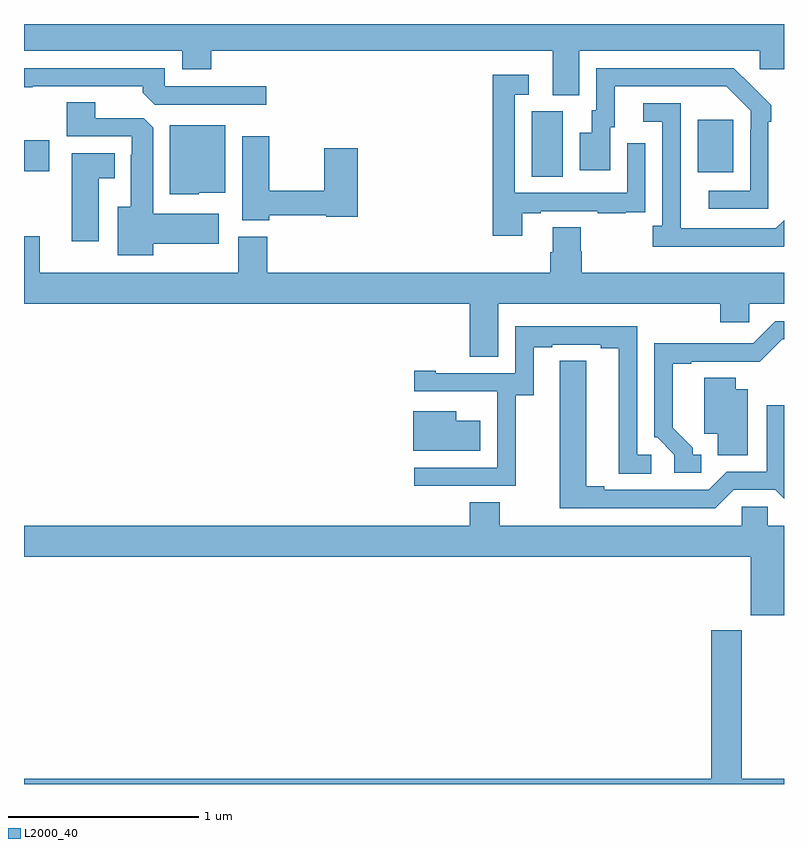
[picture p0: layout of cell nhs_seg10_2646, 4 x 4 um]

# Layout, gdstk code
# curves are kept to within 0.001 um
import gdstk
lib = gdstk.Library(unit=1e-6, precision=1e-09)
def R(c, l, rs):  # rectangles x0, y0, x1, y1
    for r in rs: c.add(gdstk.rectangle(r[:2], r[2:], *l))
def P(c, l, *ps):  # polygons
    for p in ps: c.add(gdstk.Polygon(p, *l))
L2000_40 = (2000, 40)

nhs_seg10_2646 = lib.new_cell('nhs_seg10_2646')
R(nhs_seg10_2646, L2000_40, [(257.672,1255.696,257.836,1256.04), (258.545,1255.721,258.733,1255.996), (255,1255.726,255.133,1255.888)])
P(nhs_seg10_2646, L2000_40, [(257.923,1256.36),(258.873,1256.36),(258.873,1256.262),(259,1256.262),(259,1256.5),(255,1256.5),(255,1256.36),(255.833,1256.36),(255.833,1256.261),(255.986,1256.261),(255.986,1256.36),(257.783,1256.36),(257.783,1256.125),(257.923,1256.125)],
  [(258.918,1255.985),(258.933,1255.985),(258.933,1256.073),(258.736,1256.268),(258.012,1256.268),(258.012,1256.046),(257.987,1256.046),(257.987,1255.927),(257.924,1255.927),(257.924,1255.731),(258.085,1255.731),(258.085,1255.956),(258.109,1255.956),(258.109,1256.172),(258.697,1256.172),(258.825,1256.043),(258.825,1255.943),(258.822,1255.943),(258.822,1255.623),(258.603,1255.623),(258.603,1255.527),(258.918,1255.527)],
  [(256.276,1256.172),(255.741,1256.172),(255.741,1256.268),(255,1256.268),(255,1256.167),(255.046,1256.167),(255.046,1256.172),(255.626,1256.172),(255.626,1256.138),(255.687,1256.076),(256.276,1256.076)],
  [(257.623,1255.503),(257.719,1255.503),(257.719,1255.515),(258.019,1255.515),(258.019,1255.503),(258.167,1255.503),(258.167,1255.509),(258.269,1255.509),(258.269,1255.618),(258.27,1255.618),(258.27,1255.873),(258.174,1255.873),(258.174,1255.611),(257.583,1255.611),(257.583,1256.127),(257.656,1256.127),(257.656,1256.233),(257.467,1256.233),(257.467,1255.386),(257.623,1255.386)],
  [(255.679,1255.343),(256.024,1255.343),(256.024,1255.501),(255.679,1255.501),(255.679,1255.955),(255.63,1256.004),(255.376,1256.004),(255.376,1256.087),(255.224,1256.087),(255.224,1255.908),(255.567,1255.908),(255.567,1255.811),(255.563,1255.811),(255.563,1255.537),(255.494,1255.537),(255.494,1255.283),(255.679,1255.283)],
  [(259,1255.33),(259,1255.468),(258.957,1255.425),(258.457,1255.425),(258.456,1256.082),(258.258,1256.082),(258.258,1255.986),(258.36,1255.986),(258.36,1255.438),(258.309,1255.438),(258.309,1255.328),(258.998,1255.328)],
  [(255.921,1255.613),(256.06,1255.613),(256.06,1255.966),(255.767,1255.966),(255.767,1255.604),(255.921,1255.604)],
  [(256.29,1255.494),(256.59,1255.494),(256.59,1255.486),(256.757,1255.486),(256.757,1255.846),(256.579,1255.846),(256.579,1255.622),(256.29,1255.622),(256.29,1255.909),(256.148,1255.909),(256.148,1255.466),(256.29,1255.466)],
  [(255.394,1255.688),(255.478,1255.688),(255.478,1255.819),(255.251,1255.819),(255.251,1255.356),(255.394,1255.356)],
  [(257.497,1255.028),(258.665,1255.028),(258.665,1254.93),(258.816,1254.93),(258.816,1255.028),(259,1255.028),(259,1255.192),(257.936,1255.192),(257.936,1255.305),(257.931,1255.305),(257.931,1255.43),(257.783,1255.43),(257.783,1255.298),(257.771,1255.298),(257.771,1255.192),(256.279,1255.192),(256.279,1255.381),(256.127,1255.381),(256.127,1255.192),(255.082,1255.192),(255.082,1255.384),(255,1255.384),(255,1255.028),(257.345,1255.028),(257.345,1254.748),(257.497,1254.748)],
  [(258.565,1254.234),(258.52,1254.234),(258.52,1254.269),(258.415,1254.374),(258.415,1254.711),(258.511,1254.711),(258.511,1254.723),(258.872,1254.722),(258.99,1254.84),(259,1254.84),(259,1254.936),(258.954,1254.936),(258.837,1254.819),(258.581,1254.819),(258.581,1254.821),(258.318,1254.821),(258.318,1254.324),(258.333,1254.324),(258.423,1254.234),(258.423,1254.138),(258.565,1254.138)],
  [(257.589,1254.547),(257.683,1254.547),(257.683,1254.798),(257.779,1254.798),(257.779,1254.813),(258.035,1254.813),(258.035,1254.793),(258.131,1254.793),(258.131,1254.133),(258.301,1254.133),(258.301,1254.234),(258.228,1254.234),(258.228,1254.909),(257.586,1254.909),(257.586,1254.663),(257.167,1254.663),(257.167,1254.676),(257.055,1254.676),(257.055,1254.567),(257.489,1254.567),(257.489,1254.566),(257.49,1254.566),(257.49,1254.165),(257.055,1254.165),(257.055,1254.069),(257.589,1254.069)],
  [(258.735,1254.048),(258.953,1254.048),(259,1254.001),(259,1254.493),(258.909,1254.493),(258.909,1254.144),(258.699,1254.144),(258.603,1254.048),(258.055,1254.048),(258.055,1254.068),(257.959,1254.068),(257.959,1254.728),(257.82,1254.728),(257.819,1253.952),(258.639,1253.952)],
  [(258.808,1254.577),(258.745,1254.577),(258.745,1254.638),(258.581,1254.638),(258.581,1254.344),(258.65,1254.344),(258.65,1254.229),(258.808,1254.229)],
  [(257.401,1254.412),(257.275,1254.412),(257.275,1254.463),(257.048,1254.463),(257.048,1254.254),(257.401,1254.254)],
  [(259,1253.86),(258.915,1253.86),(258.915,1253.958),(258.777,1253.958),(258.777,1253.86),(257.505,1253.86),(257.505,1253.984),(257.345,1253.984),(257.345,1253.86),(255,1253.86),(255,1253.696),(258.824,1253.696),(258.824,1253.387),(259,1253.387)],
  [(259,1252.528),(258.777,1252.528),(258.777,1253.308),(258.617,1253.308),(258.617,1252.528),(255,1252.528),(255,1252.5),(259,1252.5)])

lib.write_gds('nhs_seg10_2646.gds')
